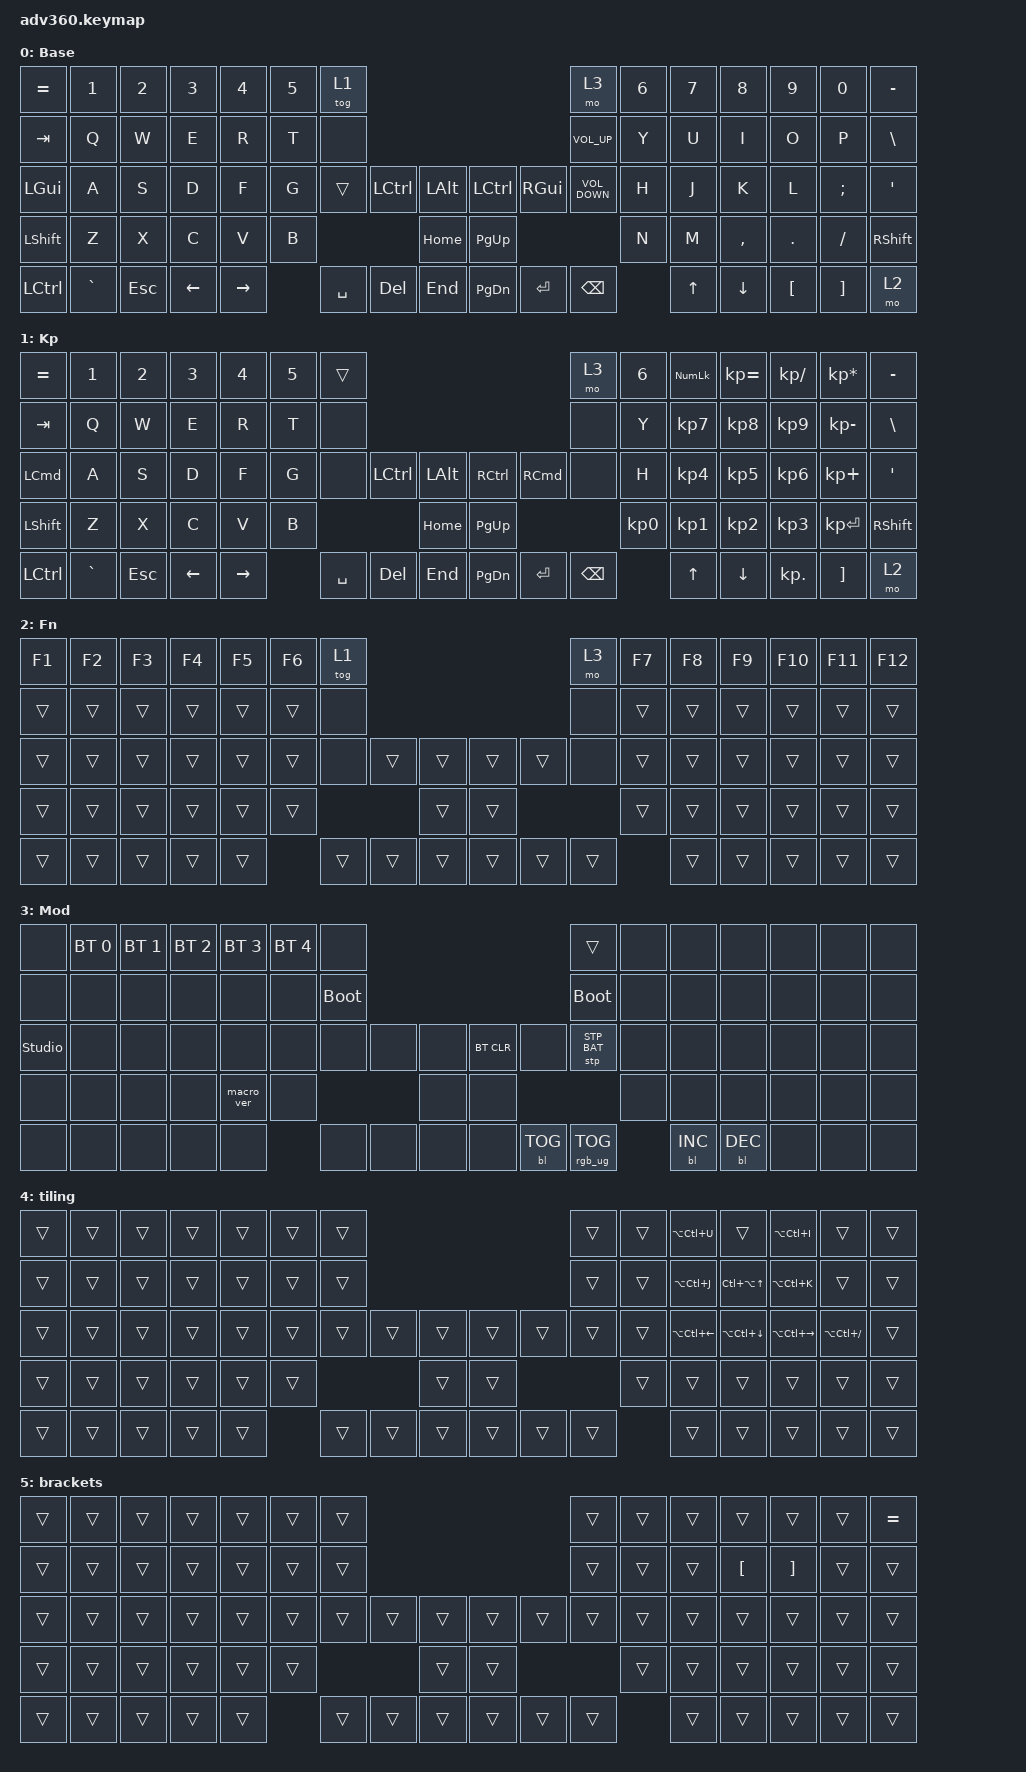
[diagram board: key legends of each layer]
#include <dt-bindings/zmk/stp.h>
#include <behaviors.dtsi>
#include <dt-bindings/zmk/backlight.h>
#include <dt-bindings/zmk/bt.h>
#include <dt-bindings/zmk/keys.h>
#include <dt-bindings/zmk/rgb.h>

/ {
    behaviors {
        #include "macros.dtsi"
      #include "version.dtsi"

        hm: homerow_mods {
            compatible = "zmk,behavior-hold-tap";
            label = "HOMEROW_MODS";
            #binding-cells = <2>;
            tapping-term-ms = <200>;
            quick_tap_ms = <175>;
            flavor = "tap-preferred";
            bindings = <&kp>, <&kp>;
        };
    };

    combos {
        compatible = "zmk,combos";

        tiling {
            bindings = <&mo 4>;
            key-positions = <32 31 65>;
        };

        brackets {
            bindings = <&mo 5>;
            key-positions = <65 32 30>;
        };
    };

    macros {
        rectangle_tile: rectangle_tile {
            compatible = "zmk,behavior-macro";
            #binding-cells = <0>;
            bindings =
                <&macro_press>,
                <&kp LA(LCTRL)>,
                <&macro_pause_for_release>,
                <&macro_release>,
                <&kp LA(LCTRL)>;

            label = "RECTANGLE_TILE";
        };
    };

    keymap {
        compatible = "zmk,keymap";

        default_layer {
            display-name = "Base";
            bindings = <
&kp EQUAL     &kp N1     &kp N2   &kp N3    &kp N4     &kp N5  &tog 1                                                    &mo 3              &kp N6  &kp N7  &kp N8     &kp N9    &kp N0    &kp MINUS
&kp TAB       &kp Q      &kp W    &kp E     &kp R      &kp T   &none                                                     &kp C_VOLUME_UP    &kp Y   &kp U   &kp I      &kp O     &kp P     &kp BSLH
&kp LEFT_GUI  &kp A      &kp S    &kp D     &kp F      &kp G   &trans     &kp LCTRL  &kp LALT      &kp LCTRL  &kp RGUI   &kp C_VOLUME_DOWN  &kp H   &kp J   &kp K      &kp L     &kp SEMI  &kp SQT
&kp LSHFT     &kp Z      &kp X    &kp C     &kp V      &kp B                         &kp HOME      &kp PG_UP                                &kp N   &kp M   &kp COMMA  &kp DOT   &kp FSLH  &kp RSHFT
&kp LCTRL     &kp GRAVE  &kp ESC  &kp LEFT  &kp RIGHT          &kp SPACE  &kp DEL    &kp END       &kp PG_DN  &kp ENTER  &kp BACKSPACE              &kp UP  &kp DOWN   &kp LBKT  &kp RBKT  &mo 2
            >;
        };

        keypad {
            display-name = "Kp";
            bindings = <
&kp EQUAL         &kp N1     &kp N2   &kp N3    &kp N4     &kp N5  &trans                                                                    &mo 3          &kp N6           &kp KP_NUM  &kp KP_EQUAL  &kp KP_DIVIDE  &kp KP_MULTIPLY  &kp MINUS
&kp TAB           &kp Q      &kp W    &kp E     &kp R      &kp T   &none                                                                     &none          &kp Y            &kp KP_N7   &kp KP_N8     &kp KP_N9      &kp KP_MINUS     &kp BSLH
&kp LEFT_COMMAND  &kp A      &kp S    &kp D     &kp F      &kp G   &none      &kp LCTRL  &kp LALT      &kp RIGHT_CONTROL  &kp RIGHT_COMMAND  &none          &kp H            &kp KP_N4   &kp KP_N5     &kp KP_N6      &kp KP_PLUS      &kp SQT
&kp LSHFT         &kp Z      &kp X    &kp C     &kp V      &kp B                         &kp HOME      &kp PG_UP                                            &kp KP_NUMBER_0  &kp KP_N1   &kp KP_N2     &kp KP_N3      &kp KP_ENTER     &kp RSHFT
&kp LCTRL         &kp GRAVE  &kp ESC  &kp LEFT  &kp RIGHT          &kp SPACE  &kp DEL    &kp END       &kp PG_DN          &kp ENTER          &kp BACKSPACE                   &kp UP      &kp DOWN      &kp KP_DOT     &kp RBKT         &mo 2
            >;
        };

        fn {
            display-name = "Fn";
            bindings = <
&kp F1  &kp F2  &kp F3  &kp F4  &kp F5  &kp F6  &tog 1                                      &mo 3   &kp F7  &kp F8  &kp F9  &kp F10  &kp F11  &kp F12
&trans  &trans  &trans  &trans  &trans  &trans  &none                                       &none   &trans  &trans  &trans  &trans   &trans   &trans
&trans  &trans  &trans  &trans  &trans  &trans  &none   &trans  &trans      &trans  &trans  &none   &trans  &trans  &trans  &trans   &trans   &trans
&trans  &trans  &trans  &trans  &trans  &trans                  &trans      &trans                  &trans  &trans  &trans  &trans   &trans   &trans
&trans  &trans  &trans  &trans  &trans          &trans  &trans  &trans      &trans  &trans  &trans          &trans  &trans  &trans   &trans   &trans
            >;
        };

        mod {
            display-name = "Mod";
            bindings = <
&none           &bt BT_SEL 0  &bt BT_SEL 1  &bt BT_SEL 2  &bt BT_SEL 3  &bt BT_SEL 4  &none                                                  &trans           &none  &none       &none       &none  &none  &none
&none           &none         &none         &none         &none         &none         &bootloader                                            &bootloader      &none  &none       &none       &none  &none  &none
&studio_unlock  &none         &none         &none         &none         &none         &none        &none  &none      &bt BT_CLR  &none       &stp STP_BAT     &none  &none       &none       &none  &none  &none
&none           &none         &none         &none         &macro_ver    &none                             &none      &none                                    &none  &none       &none       &none  &none  &none
&none           &none         &none         &none         &none                       &none        &none  &none      &none       &bl BL_TOG  &rgb_ug RGB_TOG         &bl BL_INC  &bl BL_DEC  &none  &none  &none
            >;
        };

        tiling {
            bindings = <
&trans  &trans  &trans  &trans  &trans  &trans  &trans                                      &trans  &trans  &kp LA(LC(U))     &trans            &kp LA(LC(I))      &trans             &trans
&trans  &trans  &trans  &trans  &trans  &trans  &trans                                      &trans  &trans  &kp LA(LC(J))     &kp LC(LA(UP))    &kp LA(LC(K))      &trans             &trans
&trans  &trans  &trans  &trans  &trans  &trans  &trans  &trans  &trans      &trans  &trans  &trans  &trans  &kp LA(LC(LEFT))  &kp LA(LC(DOWN))  &kp LA(LC(RIGHT))  &kp LA(LC(SLASH))  &trans
&trans  &trans  &trans  &trans  &trans  &trans                  &trans      &trans                  &trans  &trans            &trans            &trans             &trans             &trans
&trans  &trans  &trans  &trans  &trans          &trans  &trans  &trans      &trans  &trans  &trans          &trans            &trans            &trans             &trans             &trans
            >;
        };

        brackets {
            bindings = <
&trans  &trans  &trans  &trans  &trans  &trans  &trans                                      &trans  &trans  &trans  &trans            &trans             &trans  &kp EQUAL
&trans  &trans  &trans  &trans  &trans  &trans  &trans                                      &trans  &trans  &trans  &kp LEFT_BRACKET  &kp RIGHT_BRACKET  &trans  &trans
&trans  &trans  &trans  &trans  &trans  &trans  &trans  &trans  &trans      &trans  &trans  &trans  &trans  &trans  &trans            &trans             &trans  &trans
&trans  &trans  &trans  &trans  &trans  &trans                  &trans      &trans                  &trans  &trans  &trans            &trans             &trans  &trans
&trans  &trans  &trans  &trans  &trans          &trans  &trans  &trans      &trans  &trans  &trans          &trans  &trans            &trans             &trans  &trans
            >;
        };
    };
};
